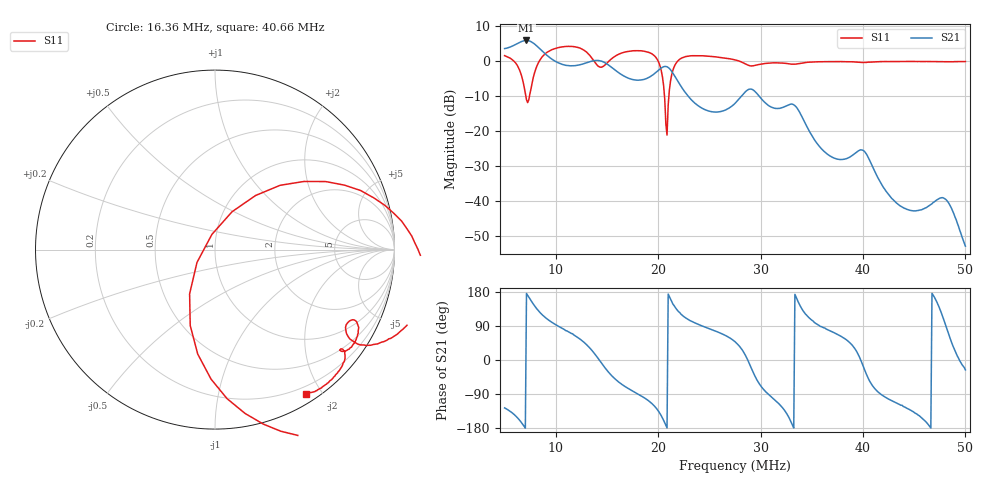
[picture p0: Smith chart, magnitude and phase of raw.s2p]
! S11/S21 only; reverse parameters are placeholders. Device calibration unverified.
! NanoVNA F V2 profile | COM3 | 2026-09-08T10:57:49.4471529-04:00 | device calibration unverified
# HZ S RI R 50
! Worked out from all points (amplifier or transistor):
!   401 points, 5 MHz to 50 MHz, reference 50 ohm
!   highest |S21| = 5.8 dB at 7.138 MHz (marker M1)
!   |S21| within 3 dB of that: start of sweep to 8.658 MHz
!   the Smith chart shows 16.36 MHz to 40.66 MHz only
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5000000  1.165 -0.2053  -0.8848 -1.202  0 0  0 0
6237500  0.6806 -0.5244  -1.554 -0.8278  0 0  0 0
7137500  0.2513 -0.1164  -1.944 0.1525  0 0  0 0
8262500  0.4565 -0.7907  -1.034 1.179  0 0  0 0
1.00625e7  0.0468 -1.515  -0.0334 0.9615  0 0  0 0
1.25375e7  -1.073 -1.009  0.5535 0.6962  0 0  0 0
1.355e7  -1.069 0.1114  0.8985 0.4119  0 0  0 0
1.45625e7  0.1026 0.8134  0.9532 -0.1991  0 0  0 0
1.5575e7  1.042 0.3699  0.5545 -0.5456  0 0  0 0
1.68125e7  1.304 -0.3054  0.1921 -0.5552  0 0  0 0
1.8725e7  1.001 -0.9176  -0.1064 -0.5372  0 0  0 0
2.0075e7  0.1678 -0.9131  -0.5418 -0.5062  0 0  0 0
2.08625e7  -0.0172 0.0848  -0.8193 -0.0127  0 0  0 0
2.1425e7  0.617 0.3791  -0.5671 0.3525  0 0  0 0
2.28875e7  1.157 -0.0947  -0.0949 0.3023  0 0  0 0
2.75e7  0.8838 -0.5284  0.1632 0.1834  0 0  0 0
2.98625e7  0.7889 -0.4017  0.1442 -0.2752  0 0  0 0
3.50375e7  0.7083 -0.6488  -0.0207 0.0812  0 0  0 0
4.01e7  0.5132 -0.7945  0.0475 -0.0191  0 0  0 0
4.2575e7  0.4447 -0.866  -0.00291 -0.0115  0 0  0 0
4.7975e7  0.2366 -0.9361  -0.00173 0.0105  0 0  0 0
5e7  0.1693 -0.9593  0.00201 -0.000977  0 0  0 0
